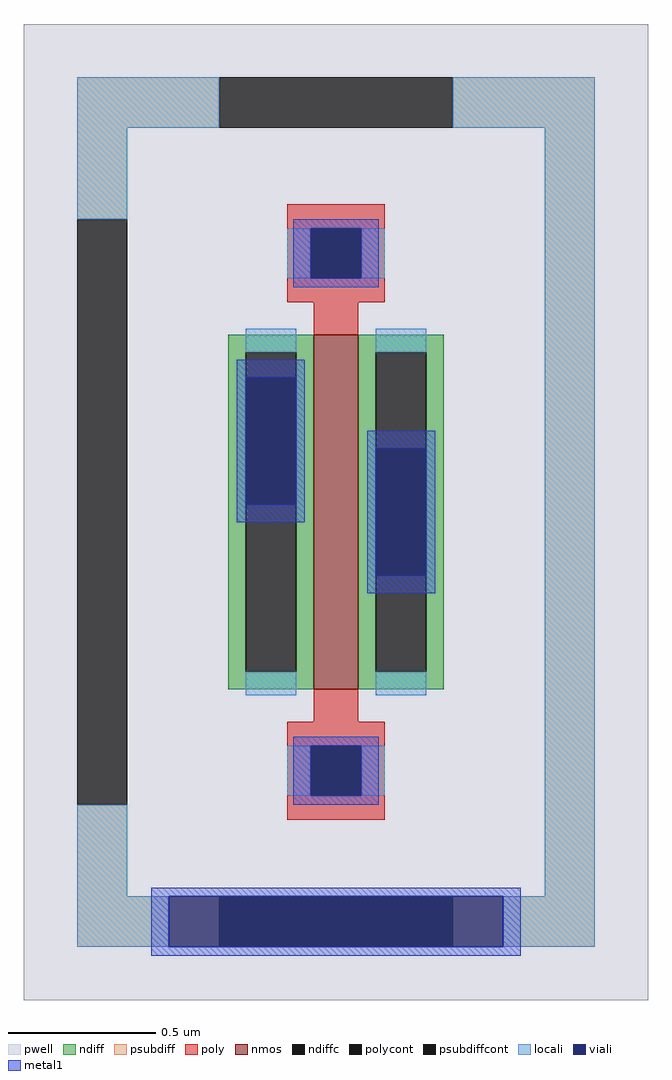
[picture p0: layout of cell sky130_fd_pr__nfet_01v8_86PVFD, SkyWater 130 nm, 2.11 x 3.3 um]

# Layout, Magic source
magic
tech sky130A
magscale 1 2
<< pwell >>
rect -211 -330 211 330
<< nmos >>
rect -15 -120 15 120
<< ndiff >>
rect -73 108 -15 120
rect -73 -108 -61 108
rect -27 -108 -15 108
rect -73 -120 -15 -108
rect 15 108 73 120
rect 15 -108 27 108
rect 61 -108 73 108
rect 15 -120 73 -108
<< ndiffc >>
rect -61 -108 -27 108
rect 27 -108 61 108
<< psubdiff >>
rect -175 260 -79 294
rect 79 260 175 294
rect -175 198 -141 260
rect -175 -260 -141 -198
rect 141 -260 175 260
rect -175 -294 -79 -260
rect 79 -294 175 -260
<< psubdiffcont >>
rect -79 260 79 294
rect -175 -198 -141 198
rect -79 -294 79 -260
<< poly >>
rect -33 192 33 208
rect -33 158 -17 192
rect 17 158 33 192
rect -33 142 33 158
rect -15 120 15 142
rect -15 -142 15 -120
rect -33 -158 33 -142
rect -33 -192 -17 -158
rect 17 -192 33 -158
rect -33 -208 33 -192
<< polycont >>
rect -17 158 17 192
rect -17 -192 17 -158
<< locali >>
rect -175 260 -79 294
rect 79 260 175 294
rect -175 198 -141 260
rect -33 158 -17 192
rect 17 158 33 192
rect -61 108 -27 124
rect -61 -124 -27 -108
rect 27 108 61 124
rect 27 -124 61 -108
rect -33 -192 -17 -158
rect 17 -192 33 -158
rect -175 -260 -141 -198
rect 141 -260 175 260
rect -175 -294 -113 -260
rect 113 -294 175 -260
<< viali >>
rect -17 158 17 192
rect -61 5 -27 91
rect 27 -43 61 43
rect -17 -192 17 -158
rect -113 -294 -79 -260
rect -79 -294 79 -260
rect 79 -294 113 -260
<< metal1 >>
rect -29 192 29 198
rect -29 158 -17 192
rect 17 158 29 192
rect -29 152 29 158
rect -67 91 -21 103
rect -67 5 -61 91
rect -27 5 -21 91
rect -67 -7 -21 5
rect 21 43 67 55
rect 21 -43 27 43
rect 61 -43 67 43
rect 21 -55 67 -43
rect -29 -158 29 -152
rect -29 -192 -17 -158
rect 17 -192 29 -158
rect -29 -198 29 -192
rect -125 -260 125 -254
rect -125 -294 -113 -260
rect 113 -294 125 -260
rect -125 -300 125 -294
<< properties >>
string gencell sky130_fd_pr__nfet_01v8
string FIXED_BBOX -158 -277 158 277
string parameters w 1.2 l 0.150 m 1 nf 1 diffcov 100 polycov 100 guard 1 glc 1 grc 0 gtc 1 gbc 1 tbcov 100 rlcov 100 topc 1 botc 1 poverlap 0 doverlap 1 lmin 0.15 wmin 0.42 compatible {sky130_fd_pr__nfet_01v8 sky130_fd_pr__nfet_01v8_lvt  sky130_fd_bs_flash__special_sonosfet_star  sky130_fd_pr__nfet_g5v0d10v5 sky130_fd_pr__nfet_05v0_nvt  sky130_fd_pr__nfet_03v3_nvt} full_metal 1 viasrc 40 viadrn -40 viagate 100 viagb 80 viagr 0 viagl 0 viagt 0
string library sky130
<< end >>
